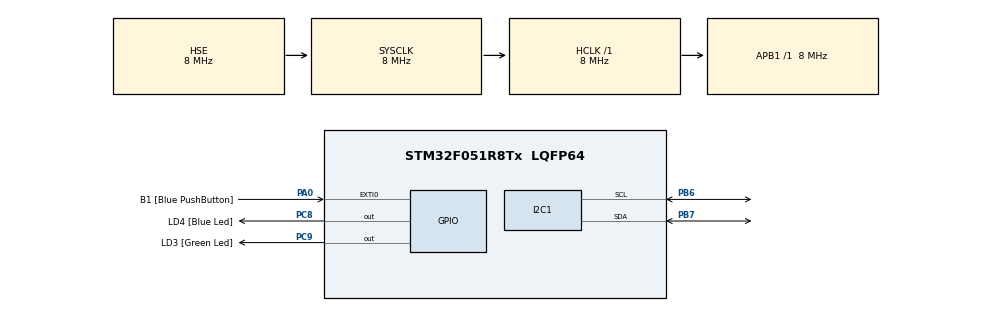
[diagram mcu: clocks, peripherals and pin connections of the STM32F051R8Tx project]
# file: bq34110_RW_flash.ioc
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Mcu.Family=STM32F0
Mcu.Name=STM32F051R8Tx
Mcu.Package=LQFP64
PA0.GPIO_Label=B1 [Blue PushButton]
PA0.GPIO_ModeDefaultEXTI=GPIO_MODE_EVT_RISING
PA0.Signal=GPXTI0
PA13.GPIO_Label=SWDIO
PA13.Mode=Serial_Wire
PA13.Signal=SYS_SWDIO
PA14.GPIO_Label=SWCLK
PA14.Mode=Serial_Wire
PA14.Signal=SYS_SWCLK
PB6.Mode=I2C
PB6.Signal=I2C1_SCL
PB7.Mode=I2C
PB7.Signal=I2C1_SDA
PC8.GPIO_Label=LD4 [Blue Led]
PC8.Signal=GPIO_Output
PC9.GPIO_Label=LD3 [Green Led]
PC9.Signal=GPIO_Output
PF0-OSC_IN.Mode=HSE-External-Oscillator
PF0-OSC_IN.Signal=RCC_OSC_IN
PF1-OSC_OUT.Mode=HSE-External-Oscillator
PF1-OSC_OUT.Signal=RCC_OSC_OUT
ProjectManager.HeapSize=0x200
ProjectManager.StackSize=0x400
ProjectManager.TargetToolchain=STM32CubeIDE
RCC.AHBFreq_Value=8000000
RCC.APB1Freq_Value=8000000
RCC.APB1TimFreq_Value=8000000
RCC.HCLKFreq_Value=8000000
RCC.PLLMUL=RCC_PLL_MUL12
RCC.SYSCLKFreq_VALUE=8000000
RCC.SYSCLKSource=RCC_SYSCLKSOURCE_HSE
board=STM32F0DISCOVERY

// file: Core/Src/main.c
/* USER CODE BEGIN Header */
/**
  ******************************************************************************
  * @file           : main.c
  * @brief          : Main program body
  ******************************************************************************
  * @attention
  *
  * <h2><center>&copy; Copyright (c) 2021 STMicroelectronics.
  * All rights reserved.</center></h2>
  *
  * This software component is licensed by ST under BSD 3-Clause license,
  * the "License"; You may not use this file except in compliance with the
  * License. You may obtain a copy of the License at:
  *                        opensource.org/licenses/BSD-3-Clause
  *
  ******************************************************************************
  */
/* USER CODE END Header */
#include "main.h"

/* USER CODE BEGIN Includes */
#define BQ34110 0xAA

/* USER CODE END Includes */

/* USER CODE BEGIN PTD */
//COMMAND
typedef enum
{
	COMMAND_Current						= 0x0C,
	COMMAND_Voltage 					= 0x08,
	COMMAND_RemainingCapacity 			= 0x10,
	COMMAND_FullChargeCapacity 			= 0x12,
	COMMAND_DesignCapacity				= 0x3C,
	COMMAND_ManufacturerAccessControl	= 0x3E,
	COMMAND_MACData						= 0x40,
	COMMAND_MACDataSum					= 0x60,
	COMMAND_MACDataLen					= 0x61,
	COMMAND_Control						= 0x00
}Command_typedef;

//SUBCOMMAND
typedef enum
{
	SUB_Addr_DesignCapacity			= 0x41F5,
	SUB_Addr_FlashUpdateOKVoltage	= 0x4157,
	SUB_Addr_IntCoeff3				= 0x41C5,
	SUB_PIN_CONTROL_EN				= 0x0022,				//can't use read_ManufacturerAccessControl to verify
	SUB_PIN_LEN_SET					= 0x006E,				//				""
	SUB_PIN_LEN_RESET				= 0x006F,				//				""
	SUB_PIN_VEN_SET					= 0x006C,				//				""
	SUB_PIN_VEN_RESET				= 0x006D,				//				""
	SUB_GaugingStatus				= 0x0056,				//y
	SUB_ManufacturingStatus			= 0x0057,				//y
	SUB_FW_VERSION 					= 0x0002,				//y
	SUB_SECURITY_KEYS 				= 0x0035				//y
}Sub_typedef;

/* USER CODE END PTD */

/* USER CODE BEGIN PD */

//#define CURRENT
//#define VOLTAGE
//#define REMAINING_CAPACITY
//#define FULL_CHARGE_CAPACITY
//#define DESIGN_CAPACITY

#define MANUFACTURER_ACCESS_CONTROL
//#define WRITE_DATA_FLASH
//#define READ_DATA_FLASH
//#define PIN_LEN
#define PIN_VEN
//#define FW_VERSION

/* USER CODE END PD */

I2C_HandleTypeDef hi2c1;

void SystemClock_Config(void);
static void MX_GPIO_Init(void);
static void MX_I2C1_Init(void);
/* USER CODE BEGIN PFP */
void Read_BQ34110(I2C_HandleTypeDef *hi2c, Command_typedef command, uint8_t *rcv_data, uint16_t size);
void Transmit_SubCommand(I2C_HandleTypeDef *hi2c,Command_typedef command , Sub_typedef subCommand);
void Write_Data(I2C_HandleTypeDef *hi2c,Command_typedef command , uint8_t* data, uint8_t size);

/* USER CODE END PFP */

/* USER CODE BEGIN 0 */
uint8_t command = 0;
uint8_t rcv_data[32] = {0};
uint8_t trans_data[32] = {0};
uint8_t checkSum = 0;

int16_t	 value_Current						= 0;
uint16_t value_Voltage	 					= 0;
uint16_t value_RemainingCapacity 			= 0;
uint16_t value_FullChargeCapacity 			= 0;
uint16_t value_DesignCapacity				= 0;
uint16_t value_ManufacturerAccessControl 	= 0;
uint16_t value_MACData						= 0;
uint16_t value_MACDataSum					= 0;
uint16_t value_MACDataLen					= 0;
/* USER CODE END 0 */

int main(void)
{

  /* MCU Configuration--------------------------------------------------------*/

  /* Reset of all peripherals, Initializes the Flash interface and the Systick. */
  HAL_Init();

  /* Configure the system clock */
  SystemClock_Config();

  /* Initialize all configured peripherals */
  MX_GPIO_Init();
  MX_I2C1_Init();

  /* Infinite loop */
  while (1)
  {

    /* USER CODE BEGIN 3 */
#ifdef PIN_LEN
	 HAL_GPIO_TogglePin(LD4_GPIO_Port, LD4_Pin);

	 //Read ManufacturingStatus register to get PCTL_EN bit
	 Transmit_SubCommand(&hi2c1, COMMAND_ManufacturerAccessControl, SUB_ManufacturingStatus);
	 Read_BQ34110(&hi2c1, COMMAND_MACData, rcv_data, 2);

	 //SET PCTL_EN
	 uint8_t PCTL_EN = (rcv_data[0] >> 4) & 0x01;
	 if(PCTL_EN == 0)
	 {
		 Transmit_SubCommand(&hi2c1, COMMAND_ManufacturerAccessControl, SUB_PIN_CONTROL_EN);
	 }

	 //get PCTL_EN after SET to check
	 Transmit_SubCommand(&hi2c1, COMMAND_ManufacturerAccessControl, SUB_ManufacturingStatus);
	 Read_BQ34110(&hi2c1, COMMAND_MACData, rcv_data, 2);
	 PCTL_EN = (rcv_data[0] >> 4) & 0x01;

	 //change PIN_LEN (only when PCTL_EN = 1)
	 Transmit_SubCommand(&hi2c1, COMMAND_ManufacturerAccessControl, SUB_PIN_LEN_RESET);

	 HAL_Delay(500);
#endif

#ifdef PIN_VEN
	 HAL_GPIO_TogglePin(LD4_GPIO_Port, LD4_Pin);

	 //Read ManufacturingStatus register to get PCTL_EN bit
	 Transmit_SubCommand(&hi2c1, COMMAND_ManufacturerAccessControl, SUB_ManufacturingStatus);
	 Read_BQ34110(&hi2c1, COMMAND_MACData, rcv_data, 2);

	 //SET PCTL_EN
	 uint8_t PCTL_EN = (rcv_data[0] >> 4) & 0x01;
	 if(PCTL_EN == 0)
	 {
		 Transmit_SubCommand(&hi2c1, COMMAND_ManufacturerAccessControl, SUB_PIN_CONTROL_EN);
	 }

	 //get PCTL_EN after SET to check
	 Transmit_SubCommand(&hi2c1, COMMAND_ManufacturerAccessControl, SUB_ManufacturingStatus);
	 Read_BQ34110(&hi2c1, COMMAND_MACData, rcv_data, 2);
	 PCTL_EN = (rcv_data[0] >> 4) & 0x01;

	 //change PIN_VEN (only when PCTL_EN = 1)
	 Transmit_SubCommand(&hi2c1, COMMAND_ManufacturerAccessControl, SUB_PIN_VEN_RESET);

	 HAL_Delay(500);
#endif

#ifdef FW_VERSION
	 Transmit_SubCommand(&hi2c1, COMMAND_ManufacturerAccessControl, SUB_FW_VERSION);
  	 Read_BQ34110(&hi2c1, COMMAND_ManufacturerAccessControl, rcv_data, 2);
	 Read_BQ34110(&hi2c1, COMMAND_MACData, rcv_data, 4);
#endif

#ifdef VOLTAGE
	 HAL_GPIO_TogglePin(LD4_GPIO_Port, LD4_Pin);
	 Read_BQ34110(&hi2c1, COMMAND_Voltage, rcv_data, 2);
	 value_Voltage = rcv_data[0] + (rcv_data[1]<<8);
	 HAL_Delay(500);
#endif

#ifdef REMAINING_CAPACITY
	 HAL_GPIO_TogglePin(LD4_GPIO_Port, LD4_Pin);
	 Read_BQ34110(&hi2c1, COMMAND_RemainingCapacity, rcv_data, 2);
	 value_RemainingCapacity = rcv_data[0] + (rcv_data[1]<<8);
	 HAL_Delay(500);
#endif

#ifdef FULL_CHARGE_CAPACITY
	 HAL_GPIO_TogglePin(LD4_GPIO_Port, LD4_Pin);
	 Read_BQ34110(&hi2c1, COMMAND_FullChargeCapacity, rcv_data, 2);
	 value_FullChargeCapacity = rcv_data[0] + (rcv_data[1]<<8);
	 HAL_Delay(500);
#endif

#ifdef WRITE_DATA_FLASH
	 HAL_GPIO_TogglePin(LD4_GPIO_Port, LD4_Pin);
	 	 //write subCommand
	 Transmit_SubCommand(&hi2c1, COMMAND_ManufacturerAccessControl, SUB_Addr_DesignCapacity);
	 	 //write data
	 trans_data[0] = 0x17;
	 trans_data[1] = 0x70;
	 Write_Data(&hi2c1, COMMAND_MACData, trans_data, 2);
	 	 //write checkSum
	 checkSum = (0xFF - (0x41 + 0xF5 + trans_data[0] + trans_data[1])) & 0xFF;
	 trans_data[0] = checkSum;
	 Write_Data(&hi2c1, COMMAND_MACDataSum, trans_data, 1);
	 	 //write Length
	 trans_data[0] = 0x06;  //= (4 + length of MACData() bytes)
	 Write_Data(&hi2c1, COMMAND_MACDataLen, trans_data, 1);

	 HAL_Delay(500);
#endif

#ifdef READ_DATA_FLASH
	 HAL_GPIO_TogglePin(LD4_GPIO_Port, LD4_Pin);

	 Transmit_SubCommand(&hi2c1, COMMAND_ManufacturerAccessControl, SUB_Addr_DesignCapacity);
	 Read_BQ34110(&hi2c1, COMMAND_ManufacturerAccessControl, rcv_data, 2);
	 Read_BQ34110(&hi2c1, COMMAND_MACData, rcv_data, 2);
	 Read_BQ34110(&hi2c1, COMMAND_MACDataSum, rcv_data, 1);
	 Read_BQ34110(&hi2c1, COMMAND_MACDataLen, rcv_data, 1);

	 HAL_Delay(500);
#endif

#ifdef DESIGN_CAPACITY
	 HAL_GPIO_TogglePin(LD4_GPIO_Port, LD4_Pin);
	 Read_BQ34110(&hi2c1, COMMAND_DesignCapacity, rcv_data, 2);
	 value_DesignCapacity = rcv_data[0] + (rcv_data[1]<<8);
	 HAL_Delay(500);
#endif

  }
  /* USER CODE END 3 */
}

void SystemClock_Config(void)
{
  RCC_OscInitTypeDef RCC_OscInitStruct = {0};
  RCC_ClkInitTypeDef RCC_ClkInitStruct = {0};
  RCC_PeriphCLKInitTypeDef PeriphClkInit = {0};

  /** Initializes the RCC Oscillators according to the specified parameters
  * in the RCC_OscInitTypeDef structure.
  */
  RCC_OscInitStruct.OscillatorType = RCC_OSCILLATORTYPE_HSI|RCC_OSCILLATORTYPE_HSE;
  RCC_OscInitStruct.HSEState = RCC_HSE_ON;
  RCC_OscInitStruct.HSIState = RCC_HSI_ON;
  RCC_OscInitStruct.HSICalibrationValue = RCC_HSICALIBRATION_DEFAULT;
  RCC_OscInitStruct.PLL.PLLState = RCC_PLL_NONE;
  if (HAL_RCC_OscConfig(&RCC_OscInitStruct) != HAL_OK)
  {
    Error_Handler();
  }
  /** Initializes the CPU, AHB and APB buses clocks
  */
  RCC_ClkInitStruct.ClockType = RCC_CLOCKTYPE_HCLK|RCC_CLOCKTYPE_SYSCLK
                              |RCC_CLOCKTYPE_PCLK1;
  RCC_ClkInitStruct.SYSCLKSource = RCC_SYSCLKSOURCE_HSE;
  RCC_ClkInitStruct.AHBCLKDivider = RCC_SYSCLK_DIV1;
  RCC_ClkInitStruct.APB1CLKDivider = RCC_HCLK_DIV1;

  if (HAL_RCC_ClockConfig(&RCC_ClkInitStruct, FLASH_LATENCY_0) != HAL_OK)
  {
    Error_Handler();
  }
  PeriphClkInit.PeriphClockSelection = RCC_PERIPHCLK_I2C1;
  PeriphClkInit.I2c1ClockSelection = RCC_I2C1CLKSOURCE_HSI;
  if (HAL_RCCEx_PeriphCLKConfig(&PeriphClkInit) != HAL_OK)
  {
    Error_Handler();
  }
}

static void MX_I2C1_Init(void)
{

  hi2c1.Instance = I2C1;
  hi2c1.Init.Timing = 0x2000090E;
  hi2c1.Init.OwnAddress1 = 0;
  hi2c1.Init.AddressingMode = I2C_ADDRESSINGMODE_7BIT;
  hi2c1.Init.DualAddressMode = I2C_DUALADDRESS_DISABLE;
  hi2c1.Init.OwnAddress2 = 0;
  hi2c1.Init.OwnAddress2Masks = I2C_OA2_NOMASK;
  hi2c1.Init.GeneralCallMode = I2C_GENERALCALL_DISABLE;
  hi2c1.Init.NoStretchMode = I2C_NOSTRETCH_DISABLE;
  if (HAL_I2C_Init(&hi2c1) != HAL_OK)
  {
    Error_Handler();
  }
  /** Configure Analogue filter
  */
  if (HAL_I2CEx_ConfigAnalogFilter(&hi2c1, I2C_ANALOGFILTER_ENABLE) != HAL_OK)
  {
    Error_Handler();
  }
  /** Configure Digital filter
  */
  if (HAL_I2CEx_ConfigDigitalFilter(&hi2c1, 0) != HAL_OK)
  {
    Error_Handler();
  }

}

static void MX_GPIO_Init(void)
{
  GPIO_InitTypeDef GPIO_InitStruct = {0};

  /* GPIO Ports Clock Enable */
  __HAL_RCC_GPIOF_CLK_ENABLE();
  __HAL_RCC_GPIOA_CLK_ENABLE();
  __HAL_RCC_GPIOC_CLK_ENABLE();
  __HAL_RCC_GPIOB_CLK_ENABLE();

  /*Configure GPIO pin Output Level */
  HAL_GPIO_WritePin(GPIOC, LD4_Pin|LD3_Pin, GPIO_PIN_RESET);

  /*Configure GPIO pin : B1_Pin */
  GPIO_InitStruct.Pin = B1_Pin;
  GPIO_InitStruct.Mode = GPIO_MODE_EVT_RISING;
  GPIO_InitStruct.Pull = GPIO_NOPULL;
  HAL_GPIO_Init(B1_GPIO_Port, &GPIO_InitStruct);

  /*Configure GPIO pins : LD4_Pin LD3_Pin */
  GPIO_InitStruct.Pin = LD4_Pin|LD3_Pin;
  GPIO_InitStruct.Mode = GPIO_MODE_OUTPUT_PP;
  GPIO_InitStruct.Pull = GPIO_NOPULL;
  GPIO_InitStruct.Speed = GPIO_SPEED_FREQ_LOW;
  HAL_GPIO_Init(GPIOC, &GPIO_InitStruct);

}

/* USER CODE BEGIN 4 */
void Read_BQ34110(I2C_HandleTypeDef *hi2c, Command_typedef command, uint8_t *rcv_data, uint16_t size)
{
	uint8_t temp = command;
	 if( HAL_I2C_Master_Transmit(hi2c, BQ34110, (uint8_t*)&temp, 1, HAL_MAX_DELAY) != HAL_OK)
	 {
		 Error_Handler();
	 }

	 if(  HAL_I2C_Master_Receive(hi2c, BQ34110, (uint8_t*)rcv_data, size, HAL_MAX_DELAY) != HAL_OK)
	 {
		 Error_Handler();
	 }
}
void Transmit_SubCommand(I2C_HandleTypeDef *hi2c,Command_typedef command , Sub_typedef subCommand)
{
	uint8_t trans_data[3] = {0};
	trans_data[0] = command;
	trans_data[1] = subCommand & 0x00FF;			//LSB
	trans_data[2] = subCommand >> 8;				//MSB
	if( HAL_I2C_Master_Transmit(hi2c, BQ34110, (uint8_t*)trans_data, 3, HAL_MAX_DELAY) != HAL_OK)
	{
	 Error_Handler();
	}
}
void Write_Data(I2C_HandleTypeDef *hi2c,Command_typedef command , uint8_t* data, uint8_t size)
{
	uint8_t trans_data[33] = {0};
	trans_data[0] = command;
	for(int i = 1; i <= size; i++)
	{
		trans_data[i] = data[i - 1];
	}

	if( HAL_I2C_Master_Transmit(hi2c, BQ34110, (uint8_t*)trans_data, (uint16_t)(size + 1), HAL_MAX_DELAY) != HAL_OK)
	{
	 Error_Handler();
	}
}

/* USER CODE END 4 */

void Error_Handler(void)
{
  __disable_irq();
  while (1)
  {
  }
}

/************************ (C) COPYRIGHT STMicroelectronics *****END OF FILE****/
